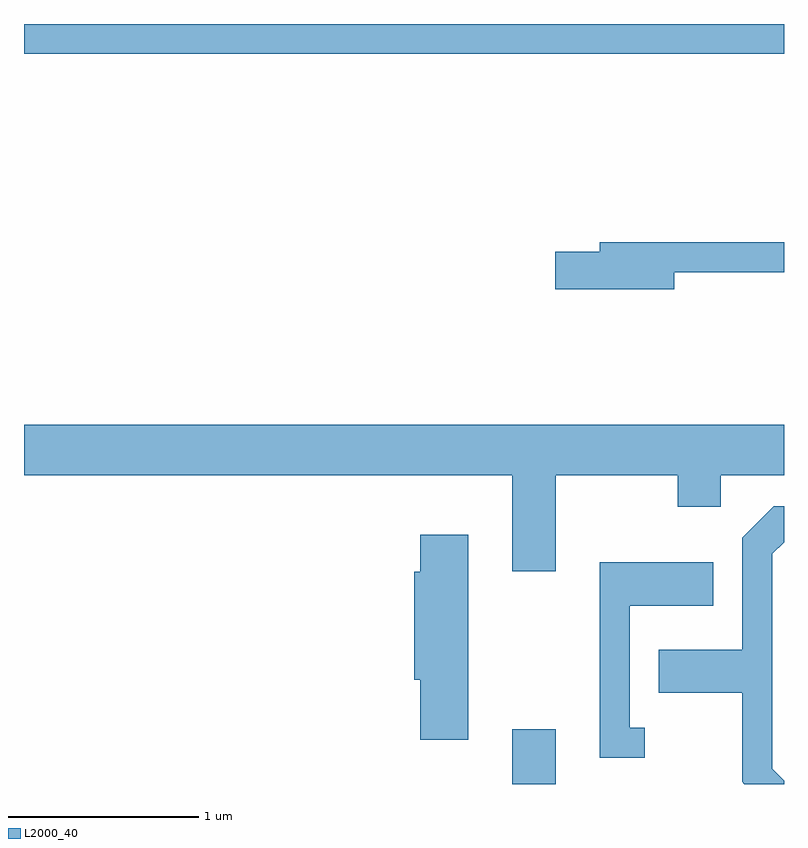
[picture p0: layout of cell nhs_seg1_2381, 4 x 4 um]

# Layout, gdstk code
import gdstk
lib = gdstk.Library(unit=1e-6, precision=1e-09)
def R(c, l, rs):  # rectangles x0, y0, x1, y1
    for r in rs: c.add(gdstk.rectangle(r[:2], r[2:], *l))
def P(c, l, *ps):  # polygons
    for p in ps: c.add(gdstk.Polygon(p, *l))
L2000_40 = (2000, 40)

nhs_seg1_2381 = lib.new_cell('nhs_seg1_2381')
R(nhs_seg1_2381, L2000_40, [(260.181,915.712,260.409,915.999), (257.611,919.556,261.611,919.712)])
P(nhs_seg1_2381, L2000_40, [(261.034,918.406),(261.611,918.406),(261.611,918.564),(260.641,918.564),(260.641,918.514),(260.406,918.514),(260.406,918.316),(261.034,918.316)],
  [(260.409,917.336),(261.051,917.336),(261.051,917.171),(261.279,917.171),(261.279,917.336),(261.611,917.336),(261.611,917.604),(257.611,917.604),(257.611,917.336),(260.181,917.336),(260.181,916.831),(260.409,916.831)],
  [(261.611,915.73),(261.549,915.792),(261.549,916.924),(261.611,916.985),(261.611,917.174),(261.558,917.174),(261.391,917.007),(261.391,916.419),(260.951,916.419),(260.951,916.191),(261.391,916.191),(261.391,915.724),(261.403,915.712),(261.611,915.712)],
  [(259.949,917.024),(259.696,917.024),(259.696,916.829),(259.666,916.829),(259.666,916.261),(259.696,916.261),(259.696,915.946),(259.949,915.946)],
  [(260.878,916.009),(260.799,916.009),(260.799,916.651),(261.239,916.651),(261.239,916.879),(260.641,916.879),(260.641,915.851),(260.878,915.851)])

lib.write_gds('nhs_seg1_2381.gds')
